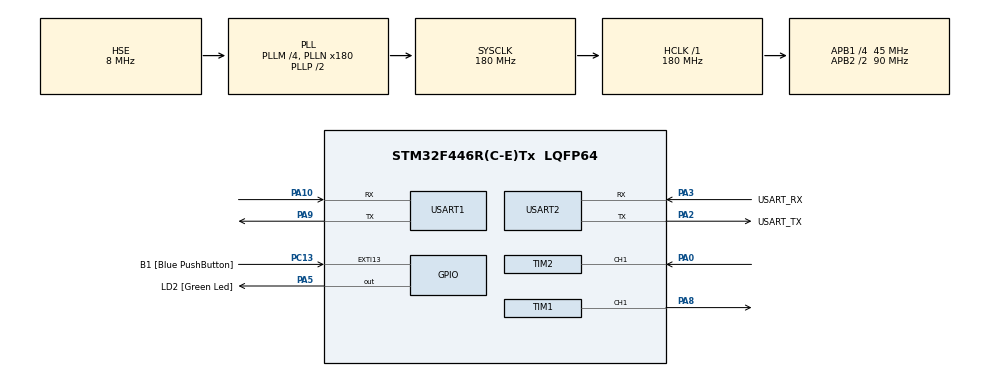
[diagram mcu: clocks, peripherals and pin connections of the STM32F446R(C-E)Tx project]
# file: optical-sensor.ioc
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Dma.Request0=TIM2_CH1
Dma.Request1=USART1_TX
Dma.Request2=USART2_TX
Dma.TIM2_CH1.0.Direction=DMA_PERIPH_TO_MEMORY
Dma.TIM2_CH1.0.FIFOMode=DMA_FIFOMODE_DISABLE
Dma.TIM2_CH1.0.Instance=DMA1_Stream5
Dma.TIM2_CH1.0.MemDataAlignment=DMA_MDATAALIGN_WORD
Dma.TIM2_CH1.0.MemInc=DMA_MINC_ENABLE
Dma.TIM2_CH1.0.Mode=DMA_CIRCULAR
Dma.TIM2_CH1.0.PeriphDataAlignment=DMA_PDATAALIGN_WORD
Dma.TIM2_CH1.0.PeriphInc=DMA_PINC_DISABLE
Dma.TIM2_CH1.0.Priority=DMA_PRIORITY_MEDIUM
Dma.USART1_TX.1.Direction=DMA_MEMORY_TO_PERIPH
Dma.USART1_TX.1.FIFOMode=DMA_FIFOMODE_DISABLE
Dma.USART1_TX.1.Instance=DMA2_Stream7
Dma.USART1_TX.1.MemDataAlignment=DMA_MDATAALIGN_BYTE
Dma.USART1_TX.1.MemInc=DMA_MINC_ENABLE
Dma.USART1_TX.1.Mode=DMA_NORMAL
Dma.USART1_TX.1.PeriphDataAlignment=DMA_PDATAALIGN_BYTE
Dma.USART1_TX.1.PeriphInc=DMA_PINC_DISABLE
Dma.USART1_TX.1.Priority=DMA_PRIORITY_LOW
Dma.USART2_TX.2.Direction=DMA_MEMORY_TO_PERIPH
Dma.USART2_TX.2.FIFOMode=DMA_FIFOMODE_DISABLE
Dma.USART2_TX.2.Instance=DMA1_Stream6
Dma.USART2_TX.2.MemDataAlignment=DMA_MDATAALIGN_BYTE
Dma.USART2_TX.2.MemInc=DMA_MINC_ENABLE
Dma.USART2_TX.2.Mode=DMA_NORMAL
Dma.USART2_TX.2.PeriphDataAlignment=DMA_PDATAALIGN_BYTE
Dma.USART2_TX.2.PeriphInc=DMA_PINC_DISABLE
Dma.USART2_TX.2.Priority=DMA_PRIORITY_LOW
Mcu.Family=STM32F4
Mcu.Name=STM32F446R(C-E)Tx
Mcu.Package=LQFP64
NVIC.DMA1_Stream5_IRQn=true\:0\:0\:false\:false\:true\:false\:true\:true
NVIC.DMA1_Stream6_IRQn=true\:0\:0\:false\:false\:true\:false\:true\:true
NVIC.DMA2_Stream7_IRQn=true\:0\:0\:false\:false\:true\:false\:true\:true
NVIC.PriorityGroup=NVIC_PRIORITYGROUP_0
NVIC.TIM2_IRQn=true\:0\:0\:false\:false\:true\:true\:true\:true
NVIC.USART1_IRQn=true\:0\:0\:false\:false\:true\:true\:true\:true
NVIC.USART2_IRQn=true\:0\:0\:false\:false\:true\:true\:true\:true
PA0-WKUP.Signal=S_TIM2_CH1_ETR
PA10.Mode=Asynchronous
PA10.Signal=USART1_RX
PA13.GPIO_Label=TMS
PA13.Mode=Serial_Wire
PA13.Signal=SYS_JTMS-SWDIO
PA14.GPIO_Label=TCK
PA14.Mode=Serial_Wire
PA14.Signal=SYS_JTCK-SWCLK
PA2.GPIO_Label=USART_TX
PA2.Mode=Asynchronous
PA2.Signal=USART2_TX
PA3.GPIO_Label=USART_RX
PA3.Mode=Asynchronous
PA3.Signal=USART2_RX
PA5.GPIO_Label=LD2 [Green Led]
PA5.Signal=GPIO_Output
PA8.Signal=S_TIM1_CH1
PA9.Mode=Asynchronous
PA9.Signal=USART1_TX
PB3.GPIO_Label=SWO
PB3.Signal=SYS_JTDO-SWO
PC13.GPIO_Label=B1 [Blue PushButton]
PC13.GPIO_ModeDefaultEXTI=GPIO_MODE_IT_FALLING
PC13.Signal=GPXTI13
PC14-OSC32_IN.Mode=LSE-External-Oscillator
PC14-OSC32_IN.Signal=RCC_OSC32_IN
PC15-OSC32_OUT.Mode=LSE-External-Oscillator
PC15-OSC32_OUT.Signal=RCC_OSC32_OUT
PH0-OSC_IN.Mode=HSE-External-Clock-Source
PH0-OSC_IN.Signal=RCC_OSC_IN
PH1-OSC_OUT.Mode=HSE-External-Clock-Source
PH1-OSC_OUT.Signal=RCC_OSC_OUT
ProjectManager.HeapSize=0x200
ProjectManager.StackSize=0x400
ProjectManager.TargetToolchain=STM32CubeIDE
RCC.48MHZClocksFreq_Value=84000000
RCC.AHBFreq_Value=180000000
RCC.APB1CLKDivider=RCC_HCLK_DIV4
RCC.APB1Freq_Value=45000000
RCC.APB1TimFreq_Value=90000000
RCC.APB2CLKDivider=RCC_HCLK_DIV2
RCC.APB2Freq_Value=90000000
RCC.APB2TimFreq_Value=180000000
RCC.CortexFreq_Value=180000000
RCC.FLatency-AdvancedSettings=FLASH_LATENCY_5
RCC.HCLKFreq_Value=180000000
RCC.HSE_VALUE=8000000
RCC.HSI_VALUE=16000000
RCC.PLLM=4
RCC.PLLN=180
RCC.PLLSourceVirtual=RCC_PLLSOURCE_HSE
RCC.SYSCLKFreq_VALUE=180000000
RCC.SYSCLKSource=RCC_SYSCLKSOURCE_PLLCLK
RCC.USBFreq_Value=180000000
RCC.VCOOutputFreq_Value=360000000
SH.S_TIM1_CH1.0=TIM1_CH1,PWM Generation1 CH1
SH.S_TIM2_CH1_ETR.0=TIM2_CH1,Input_Capture1_from_TI1
TIM1.Channel-PWM\ Generation1\ CH1=TIM_CHANNEL_1
TIM1.Period=1500-1
TIM1.Prescaler=10-1
TIM2.Channel-Input_Capture1_from_TI1=TIM_CHANNEL_1
TIM2.ICFilter_CH1=10
TIM2.Prescaler=90-1
USART1.VirtualMode=VM_ASYNC
USART2.VirtualMode=VM_ASYNC
VP_TIM2_VS_ClockSourceINT.Mode=Internal
board=NUCLEO-F446RE

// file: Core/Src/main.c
/* USER CODE BEGIN Header */
/**
  ******************************************************************************
  * @file           : main.c
  * @brief          : Main program body for optical sensor
  ******************************************************************************
  * @attention
  *
  * Copyright (c) 2026 STMicroelectronics.
  * All rights reserved.
  *
  * This software is licensed under terms that can be found in the LICENSE file
  * in the root directory of this software component.
  * If no LICENSE file comes with this software, it is provided AS-IS.
  *
  ******************************************************************************
  */
/* USER CODE END Header */
#include "main.h"

/* USER CODE BEGIN Includes */
#include <string.h>
#include <stdlib.h>
//begin///////////////////////////////////////////////////////////////////////////////////////////
//TODO: Debug only — remove before production
#include <stdio.h>
//end/////////////////////////////////////////////////////////////////////////////////////////////
/* USER CODE END Includes */

/* USER CODE BEGIN PD */

// DMA_BUF_SIZE: Number of pulse timestamps stored in RAM before the buffer wraps.
// A larger buffer provides a "safety cushion," giving the CPU more time to
// process data before the DMA hardware overwrites it.
#define DMA_BUF_SIZE	4

// SLOTS_ON_DISK: The physical number of holes/slots in your optical encoder disk.
// This is the primary constant for converting pulse frequency to shaft rotation.
#define SLOTS_ON_DISK  	18

// MINIMUM_RPM: The speed floor. If the time between pulses exceeds the time
// equivalent to this RPM, the 'timeout logic' will force the RPM to 0.
// Prevents the system from displaying a "stale" RPM when the motor stops.
// The higher the MINIMUM_RPM, the shoerter the timeout time
#define MINIMUM_RPM    	5

// CALC_WINDOW_SIZE: The number of pulses averaged for a single RPM calculation.
// Since we process data at the Half-Transfer and Transfer-Complete interrupts,
// we calculate RPM every (DMA_BUF_SIZE / 2) pulses.
#define CALC_WINDOW_SIZE (DMA_BUF_SIZE / 2)

/* USER CODE END PD */

TIM_HandleTypeDef htim1;
TIM_HandleTypeDef htim2;
DMA_HandleTypeDef hdma_tim2_ch1;

UART_HandleTypeDef huart1;
UART_HandleTypeDef huart2;
DMA_HandleTypeDef hdma_usart1_tx;
DMA_HandleTypeDef hdma_usart2_tx;

/* USER CODE BEGIN PV */
uint32_t capture_buffer[DMA_BUF_SIZE];

// Indices for the end of the first half and total buffer
// These define our "capture windows" for the DMA interrupts
uint8_t CALC_WINDOW_MAX_IDX = CALC_WINDOW_SIZE - 1;
uint8_t DMA_BUF_MAX_IDX = DMA_BUF_SIZE - 1;

// Conversion Constant Calculation:
// We measure ticks between pulses. To get RPM:
// RPM = (60,000,000 us/min) / (Time for 1 revolution in us)
// Time for 1 rev = (Avg time between pulses) * SLOTS_ON_DISK
float conversion_factor = (60000000.0f * CALC_WINDOW_SIZE) / SLOTS_ON_DISK;

uint32_t last_pulse_timestamp = 0; 	// Stores the final timestamp of the previous DMA batch
volatile uint32_t period_ticks = 0; // Raw timer ticks over the current window
volatile uint8_t new_rpm_data = 0;  // Semaphore flag to signal main loop processing
float current_rpm = 0; 				// Resultant filtered RPM

float current_pwm = 0;

// Sliding window for spike rejection
float median_buffer[3] = {0, 0, 0};
uint8_t median_idx = 0;

// Smoothing factor (Lower = smoother but slower response. 30% weight to new data, 70% to history)
float alpha = 0.3f;

// Calculate max allowable time between pulses before assuming motor has stopped
float timeout_ms = 60000.0f / (MINIMUM_RPM * SLOTS_ON_DISK);
uint32_t last_tick = 0; // For timeout logic

char esp32_tx_buffer[10]; 				// buffer for rpm string to be sent to ESP32
uint32_t last_ESP32_transmit = 0;	// used to transmit to ESP32 after every 100ms

char esp32_rx_buffer[10];   // To hold the incoming string (e.g., "3000\n") from ESP32
uint8_t esp32_rx_index = 0; // Current position in buffer
uint8_t esp32_rx_char;      // Temp storage for 1 byte
int target_rpm = 0;     	// The final number you'll use for PWM logic

//begin///////////////////////////////////////////////////////////////////////////////////////////
//TODO: Debug only — remove before production
static uint32_t last_print = 0;
//end/////////////////////////////////////////////////////////////////////////////////////////////

/* USER CODE END PV */

void SystemClock_Config(void);
static void MX_GPIO_Init(void);
static void MX_DMA_Init(void);
static void MX_USART2_UART_Init(void);
static void MX_TIM2_Init(void);
static void MX_USART1_UART_Init(void);
static void MX_TIM1_Init(void);
/* USER CODE BEGIN PFP */
float get_median_of_3(float a, float b, float c) {
    if ((a <= b && b <= c) || (c <= b && b <= a)) return b;
    if ((b <= a && a <= c) || (c <= a && a <= b)) return a;
    return c;
}

//begin///////////////////////////////////////////////////////////////////////////////////
//TODO - pwm simulation
void Set_Motor_Duty(TIM_HandleTypeDef *htim, uint32_t Channel, float percent);
//end/////////////////////////////////////////////////////////////////////////////////

/* USER CODE END PFP */

/* USER CODE BEGIN 0 */
//begin///////////////////////////////////////////////////////////////////////////////////////////
//TODO: Debug only — remove before production
int __io_putchar(int ch) {
    HAL_UART_Transmit(&huart2, (uint8_t *)&ch, 1, HAL_MAX_DELAY);
    return ch;
}
//end///////////////////////////////////////////////////////////////////////////////////////////

//begin///////////////////////////////////////////////////////////////////////////////////////////
//TODO: Debug only — remove before production
//CPU cylce tracking
void DWT_Init(void) {
    // 1. Enable the trace peripheral (required for DWT)
    CoreDebug->DEMCR |= CoreDebug_DEMCR_TRCENA_Msk;

    // 3. Reset the cycle counter
    DWT->CYCCNT = 0;

    // 4. Start the cycle counter
    DWT->CTRL |= DWT_CTRL_CYCCNTENA_Msk;
}
uint32_t start, end, duration;
volatile float acc_isr_half = 0;    // RPM Sensor Interrupt
volatile float acc_isr_full = 0;  // Motor PWM/Control Interrupt
float acc_main_logic = 0;          // Your if(new_rpm_data) block
float load_half_pct = 0;
float load_full_pct = 0;
float load_main_pct = 0;
float last_report_tick = 0;
float acc_idle_cycles = 0;
float load_idle_pct = 0;
//end///////////////////////////////////////////////////////////////////////////////////////////

//begin///////////////////////////////////////////////////////////////////////////////////
//TODO - pwm simulation
char rx_buffer[10]; // To store "100\r"
uint8_t rx_index = 0;
uint8_t rx_data;

/* Helper to set duty cycle by percentage */
void Set_Motor_Duty(TIM_HandleTypeDef *htim, uint32_t Channel, float percent) {
    if (percent < 0) percent = 0;
    if (percent > 100) percent = 100;
    uint32_t arr = htim->Instance->ARR;
    uint32_t pulse = (uint32_t)((percent * (arr + 1)) / 100.0f);
    __HAL_TIM_SET_COMPARE(htim, Channel, pulse);
}
//end/////////////////////////////////////////////////////////////////////////////////

/* USER CODE END 0 */

int main(void)
{

  /* MCU Configuration--------------------------------------------------------*/

  /* Reset of all peripherals, Initializes the Flash interface and the Systick. */
  HAL_Init();

  /* Configure the system clock */
  SystemClock_Config();

  /* Initialize all configured peripherals */
  MX_GPIO_Init();
  MX_DMA_Init();
  MX_USART2_UART_Init();
  MX_TIM2_Init();
  MX_USART1_UART_Init();
  MX_TIM1_Init();
  /* USER CODE BEGIN 2 */

  //begin/////////////////////////////////////////////////////////////
  //TODO - pwm simulation
  HAL_TIM_PWM_Start(&htim1, TIM_CHANNEL_1);
  Set_Motor_Duty(&htim1, TIM_CHANNEL_1, 0);

  /* Start the first UART interrupt reception */
  char greeting[] = "Motor Controller Ready\r\nType duty (0-100) and press Enter\r\n>> ";
  HAL_UART_Transmit(&huart2, (uint8_t*)greeting, strlen(greeting), 100);
  HAL_UART_Receive_IT(&huart2, &rx_data, 1);
  //end////////////////////////////////////////////////////////////

  // This tells the DMA: "Every time TIM2 captures a value, put it in capture_buffer."
  HAL_TIM_IC_Start_DMA(&htim2, TIM_CHANNEL_1, capture_buffer, DMA_BUF_SIZE);

  // ESP32 Tx interrupt
  HAL_UART_Receive_IT(&huart1, &esp32_rx_char, 1);

  //begin///////////////////////////////////////////////////////////////////////////////////////////
  //TODO: Debug only — remove before production
  DWT_Init();

  uint8_t print = 1;
  uint8_t last_button = 1;
  HAL_GPIO_WritePin(LD2_GPIO_Port, LD2_Pin, GPIO_PIN_SET);

//  printf("----------------------------------------------------------------------\r\n");
//  printf("----------------------------------------------------------------------\r\n");
//  printf("----------------------------------------------------------------------\r\n");
  //end/////////////////////////////////////////////////////////////////////////////////////////////

  /* USER CODE END 2 */

  /* Infinite loop */
  while (1)
  {

    /* USER CODE BEGIN 3 */

	  // Process new RPM measurement if a DMA interrupt has occurred
	  if (new_rpm_data) {
      //begin///////////////////////////////////////////////////////////////////////////////////////////
      //TODO: Debug only — remove before production
		  start = DWT->CYCCNT;
      //end///////////////////////////////////////////////////////////////////////////////////////////

		  new_rpm_data = 0;

		  // Step 1: Calculate raw RPM from timer ticks
		  float rpm_raw = conversion_factor / (float)period_ticks;

		  // Step 2: Median Filter - Rejects single-point noise/glitches
		  median_buffer[median_idx] = rpm_raw;
		  median_idx++;
		  if (median_idx >= 3) {
			  median_idx = 0;
		  }
		  float rpm_filtered = get_median_of_3(median_buffer[0], median_buffer[1], median_buffer[2]);

		  // Step 3: Complementary Alpha Filter - Smooths out quantization jitter
		  current_rpm = (alpha * rpm_filtered) + ((1.0f - alpha) * current_rpm);

		  // Update timeout timestamp
		  last_tick = HAL_GetTick();

      //begin///////////////////////////////////////////////////////////////////////////////////////////
      //TODO: Debug only — remove before production
		  acc_main_logic += (DWT->CYCCNT - start);
      //end/////////////////////////////////////////////////////////////////////////////////////////////
	  }

	  // transmit current RPM and PWM to ESP32 for graphing
	  if (HAL_GetTick() - last_ESP32_transmit >= 100) {
		  // Only send if the previous DMA transfer is finished
		  if (huart1.gState == HAL_UART_STATE_READY) {

			  // Example: current_rpm = 1500, current_pwm = 75 -> "1500,75\n"
			  int len = sprintf(esp32_tx_buffer, "%d,%d\n", (int)current_rpm, (int)current_pwm);

			  // Transmit to ESP32 via UART1
			  HAL_UART_Transmit_DMA(&huart1, (uint8_t*)esp32_tx_buffer, len);

		    //begin///////////////////////////////////////////////////////////////////////////////////////////
		    //TODO: Simulation — remove before production
//			  current_pwm = 25;
//
//			  int simulated_noise = (rand() % 401) - 200;
//			  current_rpm = target_rpm + simulated_noise;
//			  if (current_rpm < 0) current_rpm = 0;
//			  if (current_rpm > 3500) current_rpm = 3500;
//
//			  int len = sprintf(esp32_tx_buffer, "%d,%d\n", (int)current_rpm, (int)current_pwm);
//			  HAL_UART_Transmit_DMA(&huart1, (uint8_t*)esp32_tx_buffer, len);
//			  HAL_UART_Transmit(&huart2, (uint8_t*)esp32_tx_buffer, len, 10);
			//end/////////////////////////////////////////////////////////////////////////////////////////////

			  last_ESP32_transmit = HAL_GetTick();
		  }
	  }

    //begin///////////////////////////////////////////////////////////////////////////////////////////
    //TODO: Debug only — remove before production
//	  // --- The Auditor: Calculate results every 1 second ---
//	  if (print && (HAL_GetTick() - last_report_tick >= 1000)) {
//      // Calculate percentages (Assuming 180MHz)
//		  load_half_pct = ((float)acc_isr_half * 100) / 180000000;
//		  load_full_pct = ((float)acc_isr_full * 100) / 180000000;
//		  load_main_pct = ((float)acc_main_logic * 100) / 180000000;
//
//		  printf("--- CPU LOAD REPORT ---\r\n");
//		  printf("Half ISR:  %.4f%%\r\n", load_half_pct);
//		  printf("Full ISR:  %.4f%%\r\n", load_full_pct);
//		  printf("Main Math: %.4f%%\r\n", load_main_pct);
//		  printf("Total:     %.4f%%\r\n\n", load_half_pct + load_full_pct + load_main_pct);
//
//		  // Reset all accumulators
//		  acc_isr_half = 0;
//		  acc_isr_full = 0;
//		  acc_main_logic = 0;
//		  acc_idle_cycles = 0;
//		  last_report_tick = HAL_GetTick();
//	  }
    //end/////////////////////////////////////////////////////////////////////////////////////////////

	  // timeout logic to detect when RPM = 0 (If no pulses seen for too long, set RPM to zero)
	  if (HAL_GetTick() - last_tick > (uint32_t)timeout_ms) {
		  current_rpm = 0;
		  median_buffer[0] = median_buffer[1] = median_buffer[2] = 0;
	  }

    //begin///////////////////////////////////////////////////////////////////////////////////////////
    //TODO: Debug only — remove before production
	  // start and stop printing to serial on button1 press
	  uint8_t current_button = HAL_GPIO_ReadPin(B1_GPIO_Port, B1_Pin);
	  if (last_button == GPIO_PIN_SET && current_button == GPIO_PIN_RESET)
	  {
      print = !print;
      HAL_GPIO_TogglePin(LD2_GPIO_Port, LD2_Pin);
	  }
	  last_button = current_button;

	  // Print RPM to Serial every 100ms
	  if (print && (HAL_GetTick() - last_print > 100))
	  {
//      printf("%.0f\r\n", current_rpm);
		  last_print = HAL_GetTick();
	  }
    //end/////////////////////////////////////////////////////////////////////////////////////////////

  }

  /* USER CODE END 3 */
}

void SystemClock_Config(void)
{
  RCC_OscInitTypeDef RCC_OscInitStruct = {0};
  RCC_ClkInitTypeDef RCC_ClkInitStruct = {0};

  /** Configure the main internal regulator output voltage
  */
  __HAL_RCC_PWR_CLK_ENABLE();
  __HAL_PWR_VOLTAGESCALING_CONFIG(PWR_REGULATOR_VOLTAGE_SCALE1);

  /** Initializes the RCC Oscillators according to the specified parameters
  * in the RCC_OscInitTypeDef structure.
  */
  RCC_OscInitStruct.OscillatorType = RCC_OSCILLATORTYPE_HSE;
  RCC_OscInitStruct.HSEState = RCC_HSE_BYPASS;
  RCC_OscInitStruct.PLL.PLLState = RCC_PLL_ON;
  RCC_OscInitStruct.PLL.PLLSource = RCC_PLLSOURCE_HSE;
  RCC_OscInitStruct.PLL.PLLM = 4;
  RCC_OscInitStruct.PLL.PLLN = 180;
  RCC_OscInitStruct.PLL.PLLP = RCC_PLLP_DIV2;
  RCC_OscInitStruct.PLL.PLLQ = 2;
  RCC_OscInitStruct.PLL.PLLR = 2;
  if (HAL_RCC_OscConfig(&RCC_OscInitStruct) != HAL_OK)
  {
    Error_Handler();
  }

  /** Activate the Over-Drive mode
  */
  if (HAL_PWREx_EnableOverDrive() != HAL_OK)
  {
    Error_Handler();
  }

  /** Initializes the CPU, AHB and APB buses clocks
  */
  RCC_ClkInitStruct.ClockType = RCC_CLOCKTYPE_HCLK|RCC_CLOCKTYPE_SYSCLK
                              |RCC_CLOCKTYPE_PCLK1|RCC_CLOCKTYPE_PCLK2;
  RCC_ClkInitStruct.SYSCLKSource = RCC_SYSCLKSOURCE_PLLCLK;
  RCC_ClkInitStruct.AHBCLKDivider = RCC_SYSCLK_DIV1;
  RCC_ClkInitStruct.APB1CLKDivider = RCC_HCLK_DIV4;
  RCC_ClkInitStruct.APB2CLKDivider = RCC_HCLK_DIV2;

  if (HAL_RCC_ClockConfig(&RCC_ClkInitStruct, FLASH_LATENCY_5) != HAL_OK)
  {
    Error_Handler();
  }
}

static void MX_TIM1_Init(void)
{

  TIM_MasterConfigTypeDef sMasterConfig = {0};
  TIM_OC_InitTypeDef sConfigOC = {0};
  TIM_BreakDeadTimeConfigTypeDef sBreakDeadTimeConfig = {0};

  htim1.Instance = TIM1;
  htim1.Init.Prescaler = 10-1;
  htim1.Init.CounterMode = TIM_COUNTERMODE_UP;
  htim1.Init.Period = 1500-1;
  htim1.Init.ClockDivision = TIM_CLOCKDIVISION_DIV1;
  htim1.Init.RepetitionCounter = 0;
  htim1.Init.AutoReloadPreload = TIM_AUTORELOAD_PRELOAD_DISABLE;
  if (HAL_TIM_PWM_Init(&htim1) != HAL_OK)
  {
    Error_Handler();
  }
  sMasterConfig.MasterOutputTrigger = TIM_TRGO_RESET;
  sMasterConfig.MasterSlaveMode = TIM_MASTERSLAVEMODE_DISABLE;
  if (HAL_TIMEx_MasterConfigSynchronization(&htim1, &sMasterConfig) != HAL_OK)
  {
    Error_Handler();
  }
  sConfigOC.OCMode = TIM_OCMODE_PWM1;
  sConfigOC.Pulse = 0;
  sConfigOC.OCPolarity = TIM_OCPOLARITY_HIGH;
  sConfigOC.OCNPolarity = TIM_OCNPOLARITY_HIGH;
  sConfigOC.OCFastMode = TIM_OCFAST_DISABLE;
  sConfigOC.OCIdleState = TIM_OCIDLESTATE_RESET;
  sConfigOC.OCNIdleState = TIM_OCNIDLESTATE_RESET;
  if (HAL_TIM_PWM_ConfigChannel(&htim1, &sConfigOC, TIM_CHANNEL_1) != HAL_OK)
  {
    Error_Handler();
  }
  sBreakDeadTimeConfig.OffStateRunMode = TIM_OSSR_DISABLE;
  sBreakDeadTimeConfig.OffStateIDLEMode = TIM_OSSI_DISABLE;
  sBreakDeadTimeConfig.LockLevel = TIM_LOCKLEVEL_OFF;
  sBreakDeadTimeConfig.DeadTime = 0;
  sBreakDeadTimeConfig.BreakState = TIM_BREAK_DISABLE;
  sBreakDeadTimeConfig.BreakPolarity = TIM_BREAKPOLARITY_HIGH;
  sBreakDeadTimeConfig.AutomaticOutput = TIM_AUTOMATICOUTPUT_DISABLE;
  if (HAL_TIMEx_ConfigBreakDeadTime(&htim1, &sBreakDeadTimeConfig) != HAL_OK)
  {
    Error_Handler();
  }
  HAL_TIM_MspPostInit(&htim1);

}

static void MX_TIM2_Init(void)
{

  TIM_ClockConfigTypeDef sClockSourceConfig = {0};
  TIM_MasterConfigTypeDef sMasterConfig = {0};
  TIM_IC_InitTypeDef sConfigIC = {0};

  htim2.Instance = TIM2;
  htim2.Init.Prescaler = 90-1;
  htim2.Init.CounterMode = TIM_COUNTERMODE_UP;
  htim2.Init.Period = 4294967295;
  htim2.Init.ClockDivision = TIM_CLOCKDIVISION_DIV1;
  htim2.Init.AutoReloadPreload = TIM_AUTORELOAD_PRELOAD_DISABLE;
  if (HAL_TIM_Base_Init(&htim2) != HAL_OK)
  {
    Error_Handler();
  }
  sClockSourceConfig.ClockSource = TIM_CLOCKSOURCE_INTERNAL;
  if (HAL_TIM_ConfigClockSource(&htim2, &sClockSourceConfig) != HAL_OK)
  {
    Error_Handler();
  }
  if (HAL_TIM_IC_Init(&htim2) != HAL_OK)
  {
    Error_Handler();
  }
  sMasterConfig.MasterOutputTrigger = TIM_TRGO_RESET;
  sMasterConfig.MasterSlaveMode = TIM_MASTERSLAVEMODE_DISABLE;
  if (HAL_TIMEx_MasterConfigSynchronization(&htim2, &sMasterConfig) != HAL_OK)
  {
    Error_Handler();
  }
  sConfigIC.ICPolarity = TIM_INPUTCHANNELPOLARITY_RISING;
  sConfigIC.ICSelection = TIM_ICSELECTION_DIRECTTI;
  sConfigIC.ICPrescaler = TIM_ICPSC_DIV1;
  sConfigIC.ICFilter = 10;
  if (HAL_TIM_IC_ConfigChannel(&htim2, &sConfigIC, TIM_CHANNEL_1) != HAL_OK)
  {
    Error_Handler();
  }

}

static void MX_USART1_UART_Init(void)
{

  huart1.Instance = USART1;
  huart1.Init.BaudRate = 115200;
  huart1.Init.WordLength = UART_WORDLENGTH_8B;
  huart1.Init.StopBits = UART_STOPBITS_1;
  huart1.Init.Parity = UART_PARITY_NONE;
  huart1.Init.Mode = UART_MODE_TX_RX;
  huart1.Init.HwFlowCtl = UART_HWCONTROL_NONE;
  huart1.Init.OverSampling = UART_OVERSAMPLING_16;
  if (HAL_UART_Init(&huart1) != HAL_OK)
  {
    Error_Handler();
  }

}

static void MX_USART2_UART_Init(void)
{

  huart2.Instance = USART2;
  huart2.Init.BaudRate = 115200;
  huart2.Init.WordLength = UART_WORDLENGTH_8B;
  huart2.Init.StopBits = UART_STOPBITS_1;
  huart2.Init.Parity = UART_PARITY_NONE;
  huart2.Init.Mode = UART_MODE_TX_RX;
  huart2.Init.HwFlowCtl = UART_HWCONTROL_NONE;
  huart2.Init.OverSampling = UART_OVERSAMPLING_16;
  if (HAL_UART_Init(&huart2) != HAL_OK)
  {
    Error_Handler();
  }

}

static void MX_DMA_Init(void)
{

  /* DMA controller clock enable */
  __HAL_RCC_DMA1_CLK_ENABLE();
  __HAL_RCC_DMA2_CLK_ENABLE();

  /* DMA interrupt init */
  /* DMA1_Stream5_IRQn interrupt configuration */
  HAL_NVIC_SetPriority(DMA1_Stream5_IRQn, 0, 0);
  HAL_NVIC_EnableIRQ(DMA1_Stream5_IRQn);
  /* DMA1_Stream6_IRQn interrupt configuration */
  HAL_NVIC_SetPriority(DMA1_Stream6_IRQn, 0, 0);
  HAL_NVIC_EnableIRQ(DMA1_Stream6_IRQn);
  /* DMA2_Stream7_IRQn interrupt configuration */
  HAL_NVIC_SetPriority(DMA2_Stream7_IRQn, 0, 0);
  HAL_NVIC_EnableIRQ(DMA2_Stream7_IRQn);

}

static void MX_GPIO_Init(void)
{
  GPIO_InitTypeDef GPIO_InitStruct = {0};

  /* GPIO Ports Clock Enable */
  __HAL_RCC_GPIOC_CLK_ENABLE();
  __HAL_RCC_GPIOH_CLK_ENABLE();
  __HAL_RCC_GPIOA_CLK_ENABLE();
  __HAL_RCC_GPIOB_CLK_ENABLE();

  /*Configure GPIO pin Output Level */
  HAL_GPIO_WritePin(LD2_GPIO_Port, LD2_Pin, GPIO_PIN_RESET);

  /*Configure GPIO pin : B1_Pin */
  GPIO_InitStruct.Pin = B1_Pin;
  GPIO_InitStruct.Mode = GPIO_MODE_IT_FALLING;
  GPIO_InitStruct.Pull = GPIO_NOPULL;
  HAL_GPIO_Init(B1_GPIO_Port, &GPIO_InitStruct);

  /*Configure GPIO pin : LD2_Pin */
  GPIO_InitStruct.Pin = LD2_Pin;
  GPIO_InitStruct.Mode = GPIO_MODE_OUTPUT_PP;
  GPIO_InitStruct.Pull = GPIO_NOPULL;
  GPIO_InitStruct.Speed = GPIO_SPEED_FREQ_LOW;
  HAL_GPIO_Init(LD2_GPIO_Port, &GPIO_InitStruct);

}

/* USER CODE BEGIN 4 */

// Triggered when DMA fills the FIRST half of the buffer (Indices 0 to CALC_WINDOW_MAX_IDX)
// CALC_WINDOW_MAX_IDX = (DMA_BUF_SIZE / 2) - 1
void HAL_TIM_IC_CaptureHalfCpltCallback(TIM_HandleTypeDef *htim)
{
  //begin///////////////////////////////////////////////////////////////////////////////////////////
  //TODO: Debug only — remove before production
	start = DWT->CYCCNT;
  //end/////////////////////////////////////////////////////////////////////////////////////////////

  // Calculate time elapsed from the end of the previous DMA batch to the end of this half.
  // This ensures we don't lose the "gap" between interrupts.
  period_ticks = capture_buffer[CALC_WINDOW_MAX_IDX] - last_pulse_timestamp;

  // Save last timestamp of the first half to be used for calculation of second half
  last_pulse_timestamp = capture_buffer[CALC_WINDOW_MAX_IDX];

  new_rpm_data = 1;

  //begin///////////////////////////////////////////////////////////////////////////////////////////
  //TODO: Debug only — remove before production
  acc_isr_half += (DWT->CYCCNT - start);
  //end////////////////////////////////////////////////////////////////////////////////////////////
}

// Triggered when DMA fills the SECOND half of the buffer (Indices CALC_WINDOW_SIZE to DMA_BUF_MAX_IDX)
// CALC_WINDOW_SIZE = DMA_BUF_SIZE / 2
// DMA_BUF_MAX_IDX = DMA_BUF_SIZE - 1
void HAL_TIM_IC_CaptureCallback(TIM_HandleTypeDef *htim)
{
  //begin///////////////////////////////////////////////////////////////////////////////////////////
  //TODO: Debug only — remove before production
	start = DWT->CYCCNT;
  //end////////////////////////////////////////////////////////////////////////////////////////////

	// Calculate time elapsed from the end of the first half to the end of the buffer
  period_ticks = capture_buffer[DMA_BUF_MAX_IDX] - last_pulse_timestamp;

  // Save last timestamp of second half to be used for calculation of first half of next buffer
  last_pulse_timestamp = capture_buffer[DMA_BUF_MAX_IDX];
  new_rpm_data = 1;

  //begin///////////////////////////////////////////////////////////////////////////////////////////
  //TODO: Debug only — remove before production
  acc_isr_full += (DWT->CYCCNT - start);
  //end////////////////////////////////////////////////////////////////////////////////////////////
}

// Triggered on UART target rpm input from ESP32
// Using example of "1500\n" sent from ESP32:
// 	 Each digit (1, 5, 0, 0) triggers the RxCpltCallback.
//   When the \n arrives, it runs atoi(), and target_rpm instantly becomes the integer 1500
void HAL_UART_RxCpltCallback(UART_HandleTypeDef *huart) {
    if (huart->Instance == USART1) { // Ensure it matches your ESP32 connection

        // 1. Check for end-of-line characters
        if (esp32_rx_char == '\n' || esp32_rx_char == '\r') {

            // Only process if we actually collected characters (prevents \r\n double-trigger)
            if (esp32_rx_index > 0) {
                esp32_rx_buffer[esp32_rx_index] = '\0'; // Null-terminate

                target_rpm = atoi(esp32_rx_buffer);     // Convert to integer

				//begin///////////////////////////////////////////////////////////////////////////////////////////
				//TODO: Debug only — remove before production
				printf("TARGET RPM: %d\r\n", target_rpm);
				//end/////////////////////////////////////////////////////////////////////////////////////////////

                esp32_rx_index = 0; // Reset index ONLY after a successful parse
            }
        }
        // 2. Add numeric characters to the buffer
        else if (esp32_rx_index < sizeof(esp32_rx_buffer) - 1) {

            // Only accept numbers 0-9 to filter out potential serial noise/trash
            if (esp32_rx_char >= '0' && esp32_rx_char <= '9') {
                esp32_rx_buffer[esp32_rx_index++] = esp32_rx_char;
            }
        }

        // 3. Re-prime the interrupt to catch the next byte
        HAL_UART_Receive_IT(&huart1, &esp32_rx_char, 1);
    }

	//begin///////////////////////////////////////////////////////////////////////////////////////////
	//TODO: pwm simulation
    // if received over USB connection
    if (huart->Instance == USART2) {
        // If it's a carriage return or buffer is full, process it
        if (rx_data == '\r' || rx_data == '\n') {
            rx_buffer[rx_index] = '\0'; // Null-terminate string
            float new_duty = atof(rx_buffer); // Convert string to float

            Set_Motor_Duty(&htim1, TIM_CHANNEL_1, new_duty);

            // Send feedback back to Putty
            char msg[30];
            int len = sprintf(msg, "\r\nSet to: %.1f%%\r\n>> ", new_duty);
            HAL_UART_Transmit(huart, (uint8_t*)msg, len, 10);

            rx_index = 0; // Reset for next command
        } else {
            // Echo character back to Putty so you can see what you type
            HAL_UART_Transmit(huart, &rx_data, 1, 10);

            if (rx_index < sizeof(rx_buffer) - 1) {
                rx_buffer[rx_index++] = rx_data;
            }
        }
        // Restart interrupt listening
        HAL_UART_Receive_IT(huart, &rx_data, 1);
    }
	//end/////////////////////////////////////////////////////////////////////////////////////////////

}

/* USER CODE END 4 */

void Error_Handler(void)
{
  __disable_irq();
  while (1)
  {
  }
}
